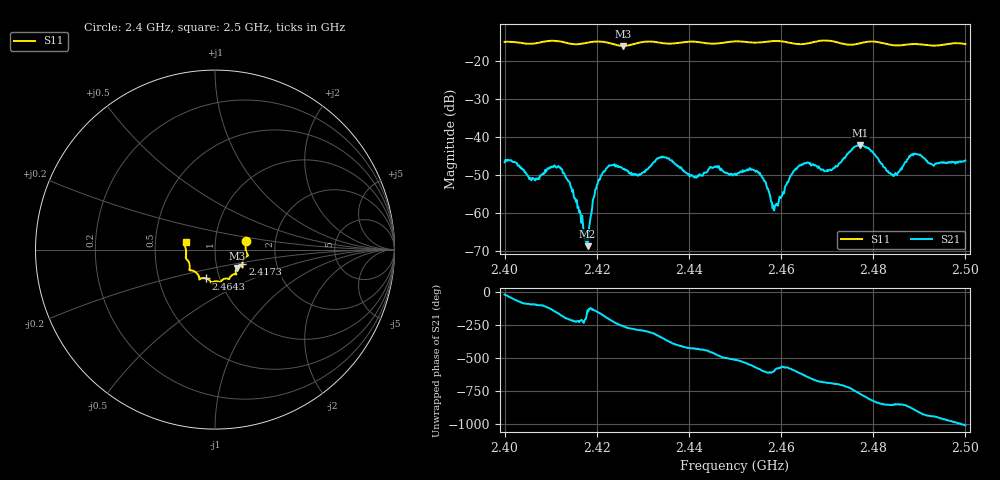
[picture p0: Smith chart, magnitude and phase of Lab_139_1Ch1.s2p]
# Hz S RI R 50
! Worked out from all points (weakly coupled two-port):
!   601 points, 2.4 GHz to 2.5 GHz, reference 50 ohm
!   highest |S21| = -42.08 dB at 2.4772 GHz (marker M1); lowest = -68.7 dB at 2.418 GHz (marker M2)
!   lowest |S11| = -15.9 dB at 2.4257 GHz (marker M3), VSWR 1.38, Z = 62.4 - j13.1 ohm
!   |S11| at or under -10 dB: start of sweep to end of sweep
!   S12 and S22 are empty: the file has one direction only
!   S11 on the Smith chart (normalised r, x): 2.4 GHz: 1.41, +0.14; 2.4173 GHz: 1.34, -0.23; 2.4643 GHz: 0.86, -0.28; 2.5 GHz: 0.72, +0.06
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2.4e9  0.1733 0.0497  0.00433 -0.00174  0 0  0 0
2.406167e9  0.1708 -0.00073  -0.000336 -0.00288  0 0  0 0
2.412e9  0.1798 -0.0364  -0.004 -0.000467  0 0  0 0
2.416667e9  0.1528 -0.0745  -0.000626 0.000408  0 0  0 0
2.417333e9  0.1524 -0.082  -0.000364 0.000287  0 0  0 0
2.418e9  0.1526 -0.0884  -0.000283 -0.000234  0 0  0 0
2.4195e9  0.1542 -0.0966  -0.00137 -0.00103  0 0  0 0
2.420833e9  0.1543 -0.0966  -0.00295 -0.000718  0 0  0 0
2.425667e9  0.1224 -0.1023  -0.000634 0.00377  0 0  0 0
2.429167e9  0.1163 -0.132  0.00121 0.00302  0 0  0 0
2.433333e9  0.1128 -0.1368  0.00473 0.00232  0 0  0 0
2.441167e9  0.0774 -0.1644  0.00102 -0.00276  0 0  0 0
2.45e9  0.0297 -0.1807  -0.00304 -0.00136  0 0  0 0
2.455167e9  0.00013 -0.1771  -0.00236 0.00235  0 0  0 0
2.458667e9  -0.0208 -0.1839  -0.00074 0.00099  0 0  0 0
2.464333e9  -0.05 -0.1606  -0.000741 0.0042  0 0  0 0
2.466667e9  -0.076 -0.16  0.00216 0.00372  0 0  0 0
2.470667e9  -0.0871 -0.1646  0.0033 0.00178  0 0  0 0
2.477167e9  -0.1283 -0.1164  0.00459 -0.00639  0 0  0 0
2.483333e9  -0.1408 -0.0896  -0.00242 -0.00238  0 0  0 0
2.489e9  -0.1625 -0.0462  -0.00607 -0.000521  0 0  0 0
2.5e9  -0.1635 0.0423  0.0019 0.00456  0 0  0 0
